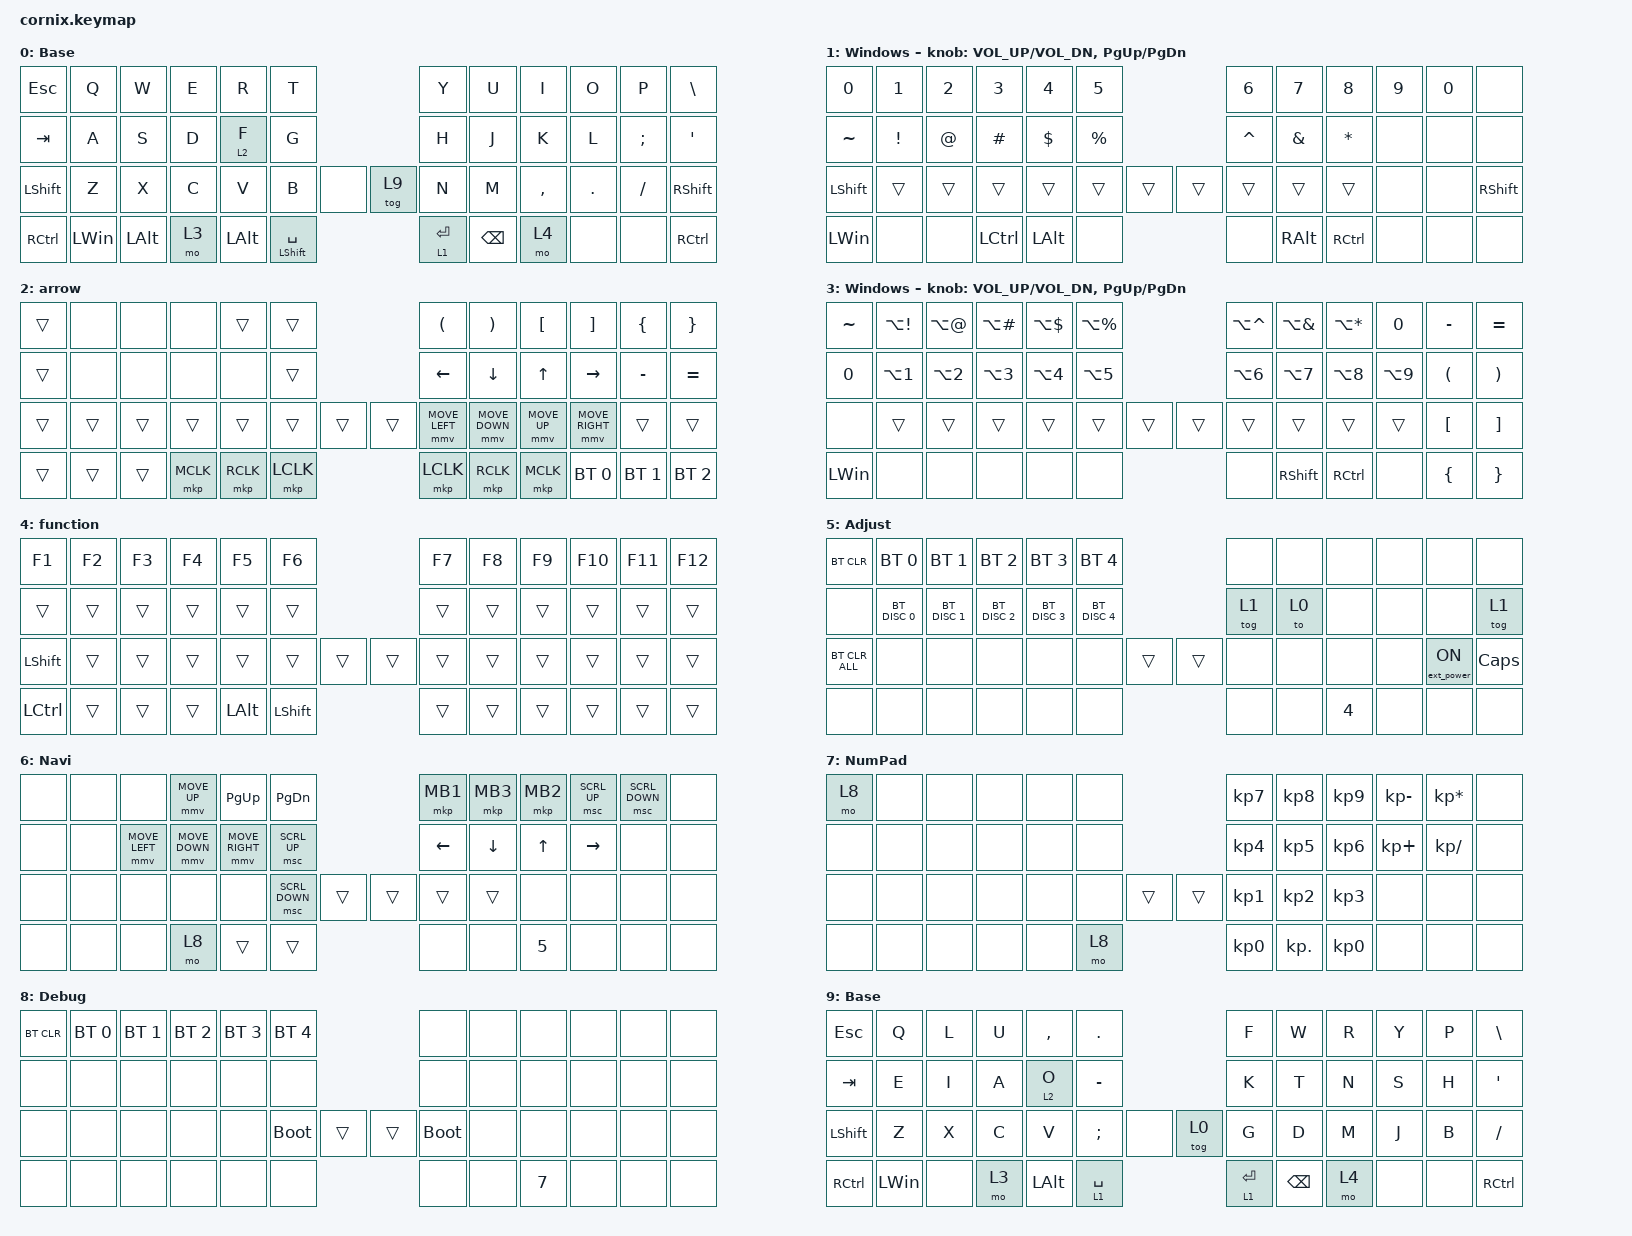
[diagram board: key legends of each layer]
/*
 * Copyright (c) 2020 The ZMK Contributors
 *
 * SPDX-License-Identifier: MIT
 */

#include "zmk-helpers/helper.h"
#include "includes/cornix54.h"

// tap windows for ctl alt and gui

#define HM_TAPPING_TERM 250
#define HM_TAPPING_REPEAT 210

// quick tapping for shift

#define HM_TAPPING_TERM_FAST 200
#define HM_PRIOR_IDLE 70
#define BASE 0
#define WIN 1
#define LOWER 2
#define RAISE 3
#define ADJUST 4
#define NAVI   5
#define NUM    6
#define DEBUG  7

// https://github.com/urob/zmk-config/tree/main#timeless-homerow-mods

#define KEYS_L LT0 LT1 LT2 LT3 LT4 LT5 LM0 LM1 LM2 LM3 LM4 LM5 LB0 LB1 LB2 LB3 LB4 LB5  // left hand
#define KEYS_R RT0 RT1 RT2 RT3 RT4 RT5 RM0 RM1 RM2 RM3 RM4 RM5 RB0 RB1 RB2 RB3 RB4 RB5  // right hand
#define THUMBS LH1 LH0 RH0 RH1
#define KEYS_T LH1 LH0 RH0 RH1
#define ZMK_POINTING_DEFAULT_SCRL_VAL 15

#include <behaviors.dtsi>
#include <dt-bindings/zmk/bt.h>
#include <dt-bindings/zmk/ext_power.h>
#include <dt-bindings/zmk/keys.h>
#include <dt-bindings/zmk/pointing.h>

/ {
    // Activate ADJUST layer by pressing raise and lower

    behaviors {
        hm_l: homerow_mods_left {
            compatible = "zmk,behavior-hold-tap";
            #binding-cells = <2>;
            bindings = <&kp>, <&kp>;

            flavor = "balanced";
            tapping-term-ms = <HM_TAPPING_TERM>;
            quick-tap-ms = <200>;                // repeat on tap-into-hold
            require-prior-idle-ms = <HM_PRIOR_IDLE>;
            hold-trigger-key-positions = <KEYS_R KEYS_T>;
            hold-trigger-on-release;
        };

        hm_r: homerow_mods_right {
            compatible = "zmk,behavior-hold-tap";
            #binding-cells = <2>;
            bindings = <&kp>, <&kp>;

            flavor = "balanced";
            tapping-term-ms = <HM_TAPPING_TERM>;
            quick-tap-ms = <200>;
            require-prior-idle-ms = <HM_PRIOR_IDLE>;
            hold-trigger-key-positions = <KEYS_L KEYS_T>;
            hold-trigger-on-release;
        };

        // Positional Homerow mods for shift
        // Use faster tapping term and disable some features that may
        // cause false negatives.

        hm_shift_l: hm_shift_l {
            compatible = "zmk,behavior-hold-tap";
            #binding-cells = <2>;
            bindings = <&kp>, <&kp>;

            //flavor = "balanced";

            flavor = "balanced";
            tapping-term-ms = <HM_TAPPING_TERM_FAST>;
            quick-tap-ms = <200>;
            require-prior-idle-ms = <HM_PRIOR_IDLE>;
            hold-trigger-key-positions = <KEYS_R KEYS_T>;
            hold-trigger-on-release;
        };

        hm_shift_r: hm_shift_r {
            compatible = "zmk,behavior-hold-tap";
            #binding-cells = <2>;
            bindings = <&kp>, <&kp>;

            flavor = "balanced";
            tapping-term-ms = <HM_TAPPING_TERM_FAST>;
            quick-tap-ms = <200>;
            require-prior-idle-ms = <HM_PRIOR_IDLE>;
            hold-trigger-key-positions = <KEYS_L KEYS_T>;

            // for quick tapping; shift+~

            hold-trigger-on-release;
        };

        /*
         * Non-Positional Homerow Mods
         * Used for &mm_grescm_gui behavior on left hand.
         *
         * Usage: &hm LSHFT T
         * Tap: T
         * Tap-Tap-Hold: Repeat T
         * Hold: LSHIFT
         */

        hm: homerow_mods {
            compatible = "zmk,behavior-hold-tap";
            #binding-cells = <2>;
            bindings = <&kp>, <&kp>;

            flavor = "balanced";
            tapping-term-ms = <HM_TAPPING_TERM>;
            quick-tap-ms = <200>;
        };

        lt: layer_tap {
            compatible = "zmk,behavior-hold-tap";
            #binding-cells = <2>;
            bindings = <&mo>, <&kp>;

            flavor = "hold-preferred";
            tapping-term-ms = <HM_TAPPING_TERM>;
            quick-tap-ms = <100>;
        };
    };

    conditional_layers { compatible = "zmk,conditional-layers"; };

    combos {
        compatible = "zmk,combos";

        ime {
            bindings = <&kp LANG_ZENKAKUHANKAKU>;
            key-positions = <19 20>;
        };

        leftboot {
            bindings = <&bootloader>;
            key-positions = <30 43>;
        };

        rightboot {
            bindings = <&bootloader>;
            key-positions = <31 44>;
        };
    };

    keymap {
        compatible = "zmk,keymap";

        default_layer {
            display-name = "Base";

            // ------------------------------------------------------------------------------------------------------------
            // |   `   |  1  |  2  |  3   |  4   |  5   |                   |  6   |  7    |  8    |  9   |   0   |       |
            // |  ESC  |  Q  |  W  |  E   |  R   |  T   |                   |  Y   |  U    |  I    |  O   |   P   | BKSPC |
            // |  TAB  |  A  |  S  |  D   |  F   |  G   |                   |  H   |  J    |  K    |  L   |   ;   |   '   |
            // | SHIFT |  Z  |  X  |  C   |  V   |  B   |  MUTE  |  |       |  N   |  M    |  ,    |  .   |   /   | SHIFT |
            //               | GUI | ALT  | CTRL | LOWER|  ENTER |  | SPACE | RAISE| CTRL  | ALT   | GUI  |

            bindings = <
&kp ESC         &kp Q         &kp W         &kp E  &kp R         &kp T                                &kp Y        &kp U          &kp I      &kp O    &kp P     &kp BSLH
&kp TAB         &kp A         &kp S         &kp D  &lt 2 F       &kp G                                &kp H        &kp J          &kp K      &kp L    &kp SEMI  &kp SQT
&kp LEFT_SHIFT  &kp Z         &kp X         &kp C  &kp V         &kp B                 &none  &tog 9  &kp N        &kp M          &kp COMMA  &kp DOT  &kp FSLH  &kp RIGHT_SHIFT
&kp RCTRL       &kp LEFT_WIN  &kp LEFT_ALT  &mo 3  &kp LEFT_ALT  &mt LEFT_SHIFT SPACE                 &lt 1 ENTER  &kp BACKSPACE  &mo 4      &none    &none     &kp RCTRL
            >;
        };

        win_layer {
            display-name = "Windows";

            // ------------------------------------------------------------------------------------------------------------
            // |   `   |  1  |  2  |  3   |  4   |  5   |                   |  6   |  7    |  8    |  9   |   0   |       |
            // |  ESC  |  Q  |  W  |  E   |  R   |  T   |                   |  Y   |  U    |  I    |  O   |   P   | BKSPC |
            // |  TAB  |  A  |  S  |  D   |  F   |  G   |                   |  H   |  J    |  K    |  L   |   ;   |   '   |
            // | SHIFT |  Z  |  X  |  C   |  V   |  B   |  MUTE  |  |       |  N   |  M    |  ,    |  .   |   /   | SHIFT |
            //               | GUI | ALT  | CTRL | LOWER|  ENTER |  | SPACE | RAISE| CTRL  | ALT   | GUI  |

            bindings = <
&kp N0          &kp N1           &kp N2       &kp N3     &kp N4        &kp N5                       &kp N6     &kp N7         &kp N8        &kp N9  &kp N0  &none
&kp TILDE       &kp EXCLAMATION  &kp AT_SIGN  &kp HASH   &kp DOLLAR    &kp PERCENT                  &kp CARET  &kp AMPERSAND  &kp ASTERISK  &none   &none   &none
&kp LEFT_SHIFT  &trans           &trans       &trans     &trans        &trans       &trans  &trans  &trans     &trans         &trans        &none   &none   &kp RIGHT_SHIFT
&kp LEFT_WIN    &none            &none        &kp LCTRL  &kp LEFT_ALT  &none                        &none      &kp RIGHT_ALT  &kp RCTRL     &none   &none   &none
            >;

            sensor-bindings = <&inc_dec_kp C_VOL_UP C_VOL_DN &inc_dec_kp PG_UP PG_DN>;
        };

        arrow {
            bindings = <
&trans  &none   &none   &none      &trans     &trans                     &kp LEFT_PARENTHESIS  &kp RIGHT_PARENTHESIS  &kp LEFT_BRACKET  &kp RIGHT_BRACKET  &kp LEFT_BRACE  &kp RIGHT_BRACE
&trans  &none   &none   &none      &none      &trans                     &kp LEFT              &kp DOWN               &kp UP            &kp RIGHT          &kp MINUS       &kp EQUAL
&trans  &trans  &trans  &trans     &trans     &trans     &trans  &trans  &mmv MOVE_LEFT        &mmv MOVE_DOWN         &mmv MOVE_UP      &mmv MOVE_RIGHT    &trans          &trans
&trans  &trans  &trans  &mkp MCLK  &mkp RCLK  &mkp LCLK                  &mkp LCLK             &mkp RCLK              &mkp MCLK         &bt BT_SEL 0       &bt BT_SEL 1    &bt BT_SEL 2
            >;
        };

        panel {
            display-name = "Windows";
            bindings = <
&kp TILDE     &kp LA(EXCL)  &kp LA(AT)  &kp LA(HASH)  &kp LA(DOLLAR)  &kp LA(PERCENT)                  &kp LA(CARET)  &kp LA(AMPS)     &kp LA(ASTRK)  &kp N0      &kp MINUS             &kp EQUAL
&kp N0        &kp LA(N1)    &kp LA(N2)  &kp LA(N3)    &kp LA(N4)      &kp LA(N5)                       &kp LA(N6)     &kp LA(N7)       &kp LA(N8)     &kp LA(N9)  &kp LEFT_PARENTHESIS  &kp RIGHT_PARENTHESIS
&none         &trans        &trans      &trans        &trans          &trans           &trans  &trans  &trans         &trans           &trans         &trans      &kp LEFT_BRACKET      &kp RIGHT_BRACKET
&kp LEFT_WIN  &none         &none       &none         &none           &none                            &none          &kp RIGHT_SHIFT  &kp RCTRL      &none       &kp LEFT_BRACE        &kp RIGHT_BRACE
            >;

            sensor-bindings =
                <&inc_dec_kp C_VOL_UP C_VOL_DN>,
                <&inc_dec_kp PG_UP PG_DN>;
        };

        function {
            bindings = <
&kp F1          &kp F2  &kp F3  &kp F4  &kp F5        &kp F6                          &kp F7  &kp F8  &kp F9  &kp F10  &kp F11  &kp F12
&trans          &trans  &trans  &trans  &trans        &trans                          &trans  &trans  &trans  &trans   &trans   &trans
&kp LEFT_SHIFT  &trans  &trans  &trans  &trans        &trans          &trans  &trans  &trans  &trans  &trans  &trans   &trans   &trans
&kp LCTRL       &trans  &trans  &trans  &kp LEFT_ALT  &kp LEFT_SHIFT                  &trans  &trans  &trans  &trans   &trans   &trans
            >;
        };

        Adjust_layer {
            display-name = "Adjust";

            // ----------------------------------------------------------------------------------------------------------------------------
            // | BTCLR  |  BT1    |  BT2    |   BT3   |   BT4   |   BT5   |                  |      |      |       |      |       |       |
            // | moDEBUG| RGB_HUD | RGB_HUI | RGB_SAD | RGB_SAI | RGB_EFF |                  |      |      |       |      |       |       |
            // | EXTPWR | RGB_BRD | RGB_BRI |         |         |         |                  |      |      |       |      |       |       |
            // |        |         |         |         |         |         | RGB_TOG | |      |      |      |       |      |       |       |
            //                    |         |         |         |         |         | |      |      |      |       |      |

            bindings = <
&bt BT_CLR      &bt BT_SEL 0   &bt BT_SEL 1   &bt BT_SEL 2   &bt BT_SEL 3   &bt BT_SEL 4                   &none   &none  &none   &none  &none             &none
&none           &bt BT_DISC 0  &bt BT_DISC 1  &bt BT_DISC 2  &bt BT_DISC 3  &bt BT_DISC 4                  &tog 1  &to 0  &none   &none  &none             &tog 1
&bt BT_CLR_ALL  &none          &none          &none          &none          &none          &trans  &trans  &none   &none  &none   &none  &ext_power EP_ON  &kp CAPSLOCK
&none           &none          &none          &none          &none          &none                          &none   &none  &kp N4  &none  &none             &none
            >;
        };

        Navi_layer {
            display-name = "Navi";
            bindings = <
&none  &none  &none           &mmv MOVE_UP    &kp PAGE_UP      &kp PAGE_DOWN                   &mkp MB1  &mkp MB3  &mkp MB2  &msc SCRL_UP  &msc SCRL_DOWN  &none
&none  &none  &mmv MOVE_LEFT  &mmv MOVE_DOWN  &mmv MOVE_RIGHT  &msc SCRL_UP                    &kp LEFT  &kp DOWN  &kp UP    &kp RIGHT     &none           &none
&none  &none  &none           &none           &none            &msc SCRL_DOWN  &trans  &trans  &trans    &trans    &none     &none         &none           &none
&none  &none  &none           &mo 8           &trans           &trans                          &none     &none     &kp N5    &none         &none           &none
            >;
        };

        KeyPad_layer {
            display-name = "NumPad";
            bindings = <
&mo 8  &none  &none  &none  &none  &none                  &kp KP_N7        &kp KP_N8        &kp KP_N9        &kp KP_MINUS  &kp KP_MULTIPLY  &none
&none  &none  &none  &none  &none  &none                  &kp KP_NUMBER_4  &kp KP_NUMBER_5  &kp KP_N6        &kp KP_PLUS   &kp KP_DIVIDE    &none
&none  &none  &none  &none  &none  &none  &trans  &trans  &kp KP_NUMBER_1  &kp KP_NUMBER_2  &kp KP_N3        &none         &none            &none
&none  &none  &none  &none  &none  &mo 8                  &kp KP_N0        &kp KP_DOT       &kp KP_NUMBER_0  &none         &none            &none
            >;
        };

        Debug_layer {
            display-name = "Debug";

            // ----------------------------------------------------------------------------------------------------------------------------
            // | BTCLR  |  BT1    |  BT2    |   BT3   |   BT4   |   BT5   |                  |      |      |       |      |       |       |
            // | EXTPWR | BTCLR | RGB_HUI | RGB_SAD | RGB_SAI | RGB_EFF |                  |      |      |       |      |       |       |
            // |        | RGB_BRD | RGB_BRI |         |         |         |                  |      |      |       |      |       |       |
            // |        |         |         |         |         |         | RGB_TOG | |      |      |      |       |      |       |       |
            //                    |         |         |         |         |         | |      |      |      |       |      |

            bindings = <
&bt BT_CLR  &bt BT_SEL 0  &bt BT_SEL 1  &bt BT_SEL 2  &bt BT_SEL 3  &bt BT_SEL 4                  &none        &none  &none   &none  &none  &none
&none       &none         &none         &none         &none         &none                         &none        &none  &none   &none  &none  &none
&none       &none         &none         &none         &none         &bootloader   &trans  &trans  &bootloader  &none  &none   &none  &none  &none
&none       &none         &none         &none         &none         &none                         &none        &none  &kp N7  &none  &none  &none
            >;
        };

        layer_9 {
            display-name = "Base";
            bindings = <
&kp ESC         &kp Q         &kp L  &kp U  &kp COMMA     &kp PERIOD                    &kp F        &kp W          &kp R  &kp Y  &kp P  &kp BSLH
&kp TAB         &kp E         &kp I  &kp A  &lt 2 O       &kp MINUS                     &kp K        &kp T          &kp N  &kp S  &kp H  &kp SQT
&kp LEFT_SHIFT  &kp Z         &kp X  &kp C  &kp V         &kp SEMICOLON  &none  &tog 0  &kp G        &kp D          &kp M  &kp J  &kp B  &kp SLASH
&kp RCTRL       &kp LEFT_WIN  &none  &mo 3  &kp LEFT_ALT  &lt 1 SPACE                   &lt 1 ENTER  &kp BACKSPACE  &mo 4  &none  &none  &kp RCTRL
            >;
        };
    };
};
